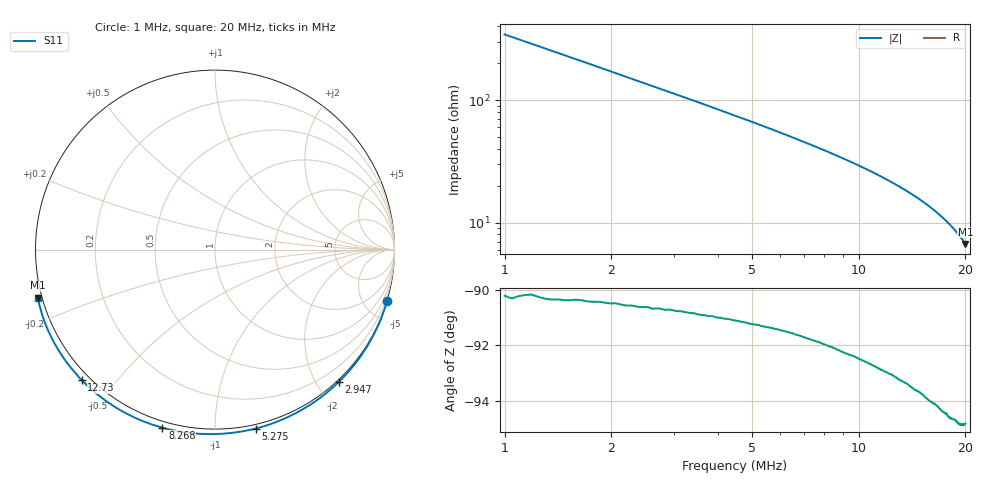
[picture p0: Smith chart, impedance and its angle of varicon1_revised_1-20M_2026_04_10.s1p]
# HZ S RI R 50
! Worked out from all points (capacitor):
!   401 points, 1 MHz to 20 MHz, reference 50 ohm
!   read as one part to ground: C = 463 pF near 1.095 MHz
!   lowest |Z| = 6.7 ohm at 20 MHz (marker M1)
!   S11 on the Smith chart (normalised r, x): 1 MHz: -0.03, -6.87; 2.947 MHz: -0.03, -2.31; 5.275 MHz: -0.03, -1.25; 8.268 MHz: -0.03, -0.75; 12.73 MHz: -0.02, -0.41; 20 MHz: -0.01, -0.13
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1000000  0.9596 -0.2852
1095000  0.9517 -0.3113
1427500  0.9197 -0.3989
1902500  0.8607 -0.5173
2425000  0.7819 -0.6345
2947500  0.6908 -0.7358
3375000  0.61 -0.8072
3850000  0.5162 -0.8732
4325000  0.4197 -0.9264
4800000  0.3228 -0.9673
5275000  0.2271 -0.9968
5750000  0.1335 -1.016
6320000  0.0257 -1.027
6890000  -0.0758 -1.027
7460000  -0.1705 -1.018
8125000  -0.2724 -0.9976
8267500  -0.2929 -0.9923
9312500  -0.4306 -0.9439
1.05e7  -0.5608 -0.8746
1.14975e7  -0.6512 -0.8104
1.27325e7  -0.7422 -0.7272
1.2875e7  -0.7516 -0.7178
1.40625e7  -0.8193 -0.6376
1.525e7  -0.8728 -0.559
1.63425e7  -0.9116 -0.4887
1.7625e7  -0.9468 -0.409
1.90025e7  -0.9736 -0.3259
2e7  -0.9865 -0.2681
